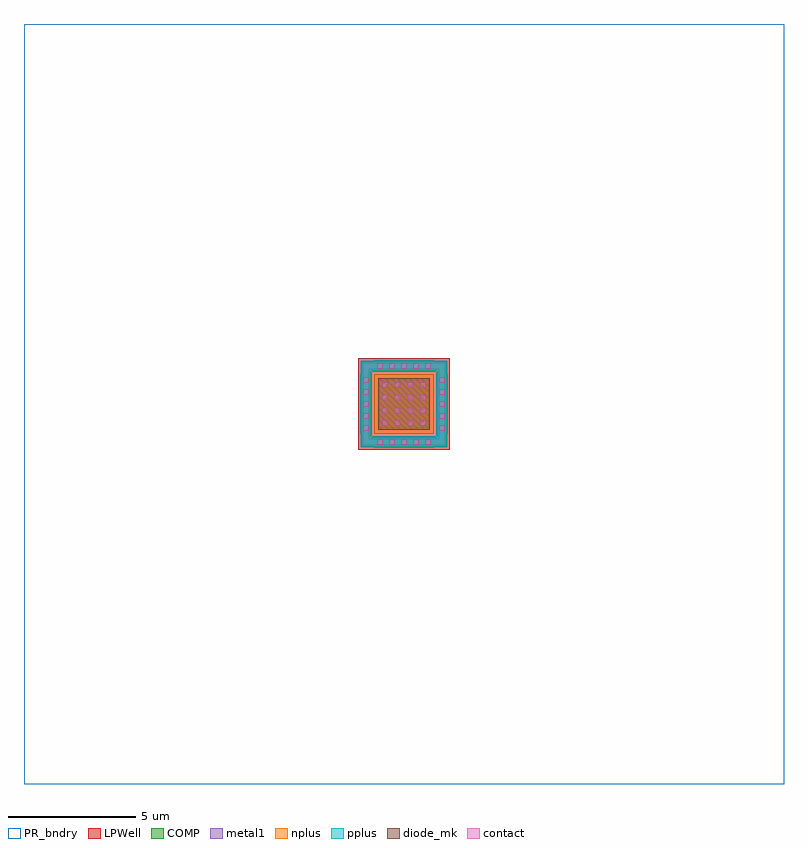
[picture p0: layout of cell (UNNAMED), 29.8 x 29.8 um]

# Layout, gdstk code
import gdstk
lib = gdstk.Library(unit=1e-6, precision=1e-09)
def R(c, l, rs):  # rectangles x0, y0, x1, y1
    for r in rs: c.add(gdstk.rectangle(r[:2], r[2:], *l))
def A(c, l, x, y, w, h, nx, ny, dx, dy):  # array of equal rectangles
    R(c, l, [(x+i*dx, y+j*dy, x+i*dx+w, y+j*dy+h) for i in range(nx) for j in range(ny)])
PR_bndry = (0, 0)
COMP = (22, 0)
pplus = (31, 0)
nplus = (32, 0)
contact = (33, 0)
metal1 = (34, 0)
diode_mk = (115, 5)
LPWell = (204, 0)

c__unnamed_ = lib.new_cell('(UNNAMED)')
R(c__unnamed_, PR_bndry, [(-14.9,-14.9,14.9,14.9)])
R(c__unnamed_, COMP, [(-1.68,-1.68,1.68,-1.3), (-1.68,-1.3,-1.3,1.3), (1.3,-1.3,1.68,1.3), (-1,-1,1,1), (-1.68,1.3,1.68,1.68)])
R(c__unnamed_, pplus, [(-1.175,-1.71,1.175,-1.7), (-1.7,-1.7,1.7,-1.27), (-1.7,-1.27,-1.27,-1.175), (1.27,-1.27,1.7,-1.175), (-1.71,-1.175,-1.27,1.175), (1.27,-1.175,1.71,1.175), (-1.7,1.175,-1.27,1.27), (1.27,1.175,1.7,1.27), (-1.7,1.27,1.7,1.7), (-1.175,1.7,1.175,1.71)])
R(c__unnamed_, nplus, [(-1.16,-1.16,1.16,1.16)])
A(c__unnamed_, contact, -1.05, -1.6, 0.22, 0.22, 5, 2, 0.47, 2.98)
A(c__unnamed_, contact, -1.6, -1.05, 0.22, 0.22, 1, 5, 0, 0.47)
A(c__unnamed_, contact, 1.38, -1.05, 0.22, 0.22, 1, 5, 0, 0.47)
A(c__unnamed_, contact, -0.86, -0.86, 0.22, 0.22, 4, 4, 0.5, 0.5)
R(c__unnamed_, metal1, [(-1.615,-1.615,1.615,-1.365), (-1.615,-1.365,-1.365,1.365), (1.365,-1.365,1.615,1.365), (-0.99,-0.935,0.99,0.935), (-1.615,1.365,1.615,1.615)])
R(c__unnamed_, diode_mk, [(-1,-1,1,1)])
R(c__unnamed_, LPWell, [(-1.8,-1.8,1.8,1.8)])

lib.write_gds('_UNNAMED_.gds')
